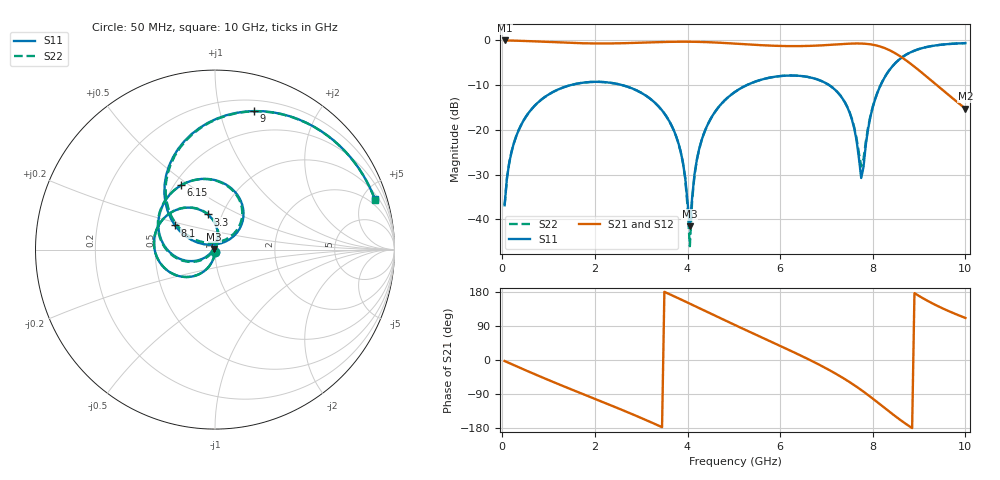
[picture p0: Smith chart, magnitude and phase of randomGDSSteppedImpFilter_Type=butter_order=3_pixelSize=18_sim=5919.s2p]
! freq	dB(S11)	phase(S11)	dB(S12)	phase(S12)
!  dB(S21)	phase(S21)	dB(S22)	phase(S22)
!S-par simulation data
#  GHz  S  DB  R 50
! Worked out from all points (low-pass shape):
!   200 points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, 50 MHz to 10 GHz, reference 50 ohm
!   highest |S21| = 0.00 dB at 50 MHz (marker M1); lowest = -15.3 dB at 10 GHz (marker M2)
!   |S21| within 3 dB of the highest: start of sweep to 8.508 GHz
!   lowest |S11| = -41.5 dB at 4.05 GHz (marker M3), VSWR 1.02, Z = 49.2 + j0.351 ohm
!   |S11| at or under -10 dB: start of sweep to 1.472 GHz; 2.594 GHz to 5.277 GHz (2.683 GHz wide, 68.2 % of centre); 7.058 GHz to 8.17 GHz (1.112 GHz wide, 14.6 % of centre)
!   |S22| runs from -46.0 to -0.6 dB; largest |S21 - S12| = 0
!   S11 on the Smith chart (normalised r, x): 50 MHz: 1.00, -0.03; 3.3 GHz: 0.86, +0.35; 6.15 GHz: 0.54, +0.47; 8.1 GHz: 0.62, +0.18; 9 GHz: 0.30, +1.28; 10 GHz: 1.42, +6.21
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0.05  -36.86 -92.6  -0.00 -2.7  -0.00 -2.7  -36.85 -92.6
0.2  -24.88 -101.1  -0.03 -10.8  -0.03 -10.8  -24.87 -101.1
0.5  -17.21 -117.4  -0.12 -26.9  -0.12 -26.9  -17.21 -117.5
1.75  -9.44 179.1  -0.63 -90.4  -0.63 -90.4  -9.44 179.0
2.5  -9.76 142.4  -0.64 -127.4  -0.64 -127.4  -9.76 142.1
3.3  -13.97 101.7  -0.40 -169.1  -0.40 -169.1  -13.97 100.8
3.4  -15.04 96.5  -0.37 -174.5  -0.37 -174.5  -15.04 95.5
3.85  -24.77 76.4  -0.28 160.2  -0.28 160.2  -24.82 72.5
3.95  -30.68 78.1  -0.28 154.4  -0.28 154.4  -30.92 70.0
4.05  -41.55 154.8  -0.29 148.7  -0.29 148.7  -46.00 157.4
4.15  -29.98 -141.7  -0.30 142.9  -0.30 142.9  -30.18 -133.6
4.3  -22.44 -142.4  -0.34 134.2  -0.34 134.2  -22.47 -138.8
5.05  -11.32 178.6  -0.72 90.8  -0.72 90.8  -11.32 179.8
6.15  -7.86 117.7  -1.26 28.7  -1.26 28.7  -7.86 118.7
6.7  -8.40 86.1  -1.19 -3.5  -1.19 -3.5  -8.39 87.4
7.45  -14.91 40.3  -0.74 -54.5  -0.74 -54.5  -14.85 43.4
7.6  -19.66 35.1  -0.68 -66.4  -0.68 -66.4  -19.44 40.5
7.75  -30.76 82.1  -0.69 -79.1  -0.69 -79.1  -28.15 86.8
8.1  -11.71 148.8  -1.18 -111.4  -1.18 -111.4  -11.65 146.5
8.35  -6.76 127.7  -2.12 -135.5  -2.12 -135.5  -6.74 126.4
9  -1.91 74.2  -6.70 168.9  -6.70 168.9  -1.91 73.7
10  -0.60 17.4  -15.26 111.0  -15.26 111.0  -0.60 17.2
